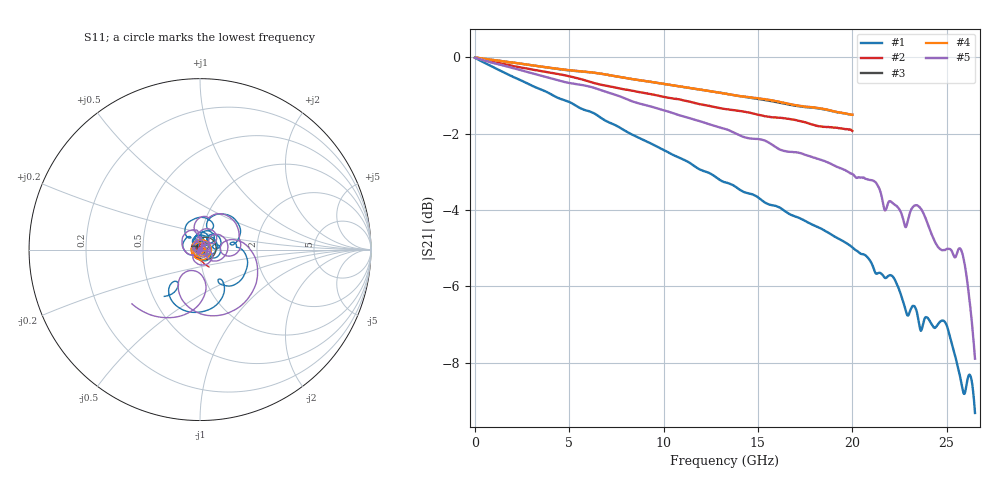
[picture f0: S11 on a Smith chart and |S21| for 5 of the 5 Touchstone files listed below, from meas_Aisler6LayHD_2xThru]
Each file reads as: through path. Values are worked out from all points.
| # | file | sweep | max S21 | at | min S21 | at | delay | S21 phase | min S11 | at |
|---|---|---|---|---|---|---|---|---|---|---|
| 1 | combLineTabbed6G_2xthru.s2p | 10 MHz to 26.5 GHz | -0.01 dB | 20 MHz | -9.3 dB | 26.5 GHz | 469 ps | -49 deg at 13.26 GHz | -62.2 dB | 30 MHz |
| 2 | combLineTabbed6G_2xthru_deemb.s2p | 10 MHz to 20 GHz | 0.00 dB | 10 MHz | -1.9 dB | 20 GHz | 145 ps | -159 deg at 10.01 GHz | -65.9 dB | 80 MHz |
| 3 | combLineTabbed6G_2xthru_fix1.s2p | 10 MHz to 20 GHz | 0.00 dB | 20 MHz | -1.5 dB | 20 GHz | 159 ps | 150 deg at 10.01 GHz | -83.8 dB | 10 MHz |
| 4 | combLineTabbed6G_2xthru_fix2.s2p | 10 MHz to 20 GHz | 0.00 dB | 20 MHz | -1.5 dB | 20 GHz | 161 ps | 144 deg at 10.01 GHz | -80.4 dB | 10 MHz |
| 5 | SMA_Rosenberger_32K242-40ML5v2_Aisler6LayerHD_meas_ff.s2p | 10 MHz to 26.5 GHz | 0.00 dB | 20 MHz | -7.9 dB | 26.5 GHz | 323 ps | -80 deg at 13.26 GHz | -82.1 dB | 1.94 GHz |
